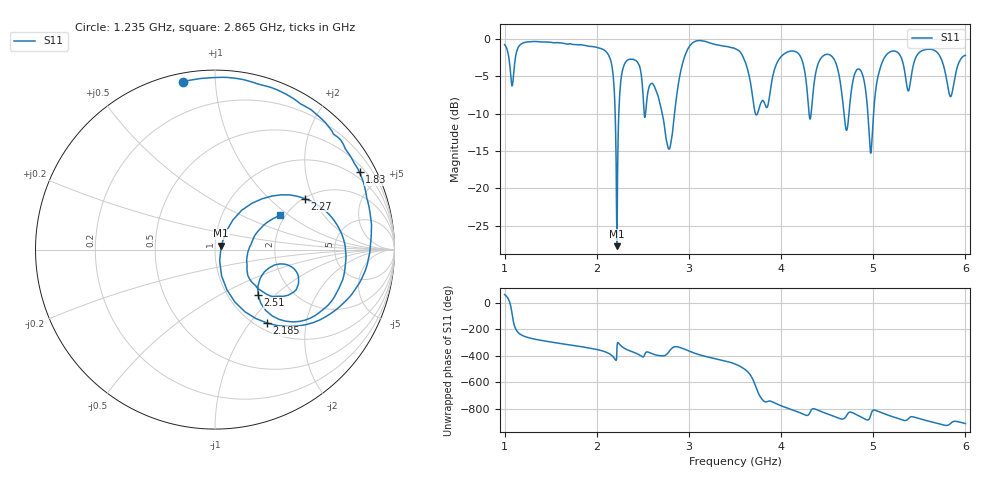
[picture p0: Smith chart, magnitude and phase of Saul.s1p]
!Agilent Technologies,E8364B,MY43040633,A.07.50.37
!Agilent E8364B: A.07.50.37
!Date: Tuesday, December 16, 2025 17:03:09
!Correction: S11(Full 1 Port(1))
!S1P File: Measurement: S11:
# Hz S  RI  R 50
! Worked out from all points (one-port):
!   1001 points, 1 GHz to 6 GHz, reference 50 ohm
!   lowest |S11| = -27.8 dB at 2.22 GHz (marker M1), VSWR 1.09, Z = 53.6 + j2.31 ohm
!   |S11| at or under -10 dB: 2.71 GHz to 2.844 GHz (133.4 MHz wide, 4.81 % of centre); 4.683 GHz to 4.736 GHz (53.41 MHz wide, 1.13 % of centre); 4.942 GHz to 5.004 GHz (62.01 MHz wide, 1.25 % of centre)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
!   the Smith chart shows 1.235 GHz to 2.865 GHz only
!   S11 on the Smith chart (normalised r, x): 1.235 GHz: 0.04, +0.83; 1.83 GHz: 0.74, +3.85; 2.185 GHz: 1.11, -1.22; 2.27 GHz: 2.02, +1.72; 2.51 GHz: 1.37, -0.79; 2.865 GHz: 1.87, +0.85
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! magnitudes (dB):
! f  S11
! 1 GHz  -0.8
! 1.08 GHz  -6.3
! 1.235 GHz  -0.4
! 1.625 GHz  -0.6
! 1.83 GHz  -0.8
! 2.115 GHz  -1.9
! 2.185 GHz  -6.0
! 2.22 GHz  -27.8
! 2.25 GHz  -7.2
! 2.27 GHz  -4.8
! 2.43 GHz  -2.9
! 2.51 GHz  -9.2
! 2.625 GHz  -6.4
! 2.785 GHz  -14.8
! 2.865 GHz  -7.8
! 2.875 GHz  -6.9
! 3.045 GHz  -0.5
! 3.5 GHz  -1.3
! 3.735 GHz  -10.2
! 4.125 GHz  -1.6
! 4.315 GHz  -10.7
! 4.49 GHz  -2.1
! 4.75 GHz  -8.3
! 4.865 GHz  -4.2
! 4.975 GHz  -15.3
! 5.135 GHz  -2.2
! 5.375 GHz  -6.9
! 6 GHz  -2.2
